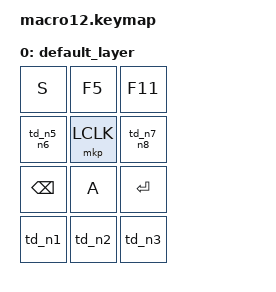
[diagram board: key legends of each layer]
#include <behaviors.dtsi>
#include <dt-bindings/zmk/keys.h>
#include <dt-bindings/zmk/bt.h>
#include <dt-bindings/zmk/mouse.h>

/ {
    behaviors {
        // --- Bluetooth Reset ---
        td_bt_reset: tap_dance_bt_reset {
            compatible = "zmk,behavior-tap-dance";
            label = "TD_BT_RESET";
            #binding-cells = <0>;
            tapping-term-ms = <300>;
            bindings = <&none>, <&bt BT_CLR>;
        };
        
        // --- Untere Reihe (Sonderzeichen / Zahlen) ---
        td_n1: tap_dance_n1 {
            compatible = "zmk,behavior-tap-dance";
            label = "TD_N1";
            #binding-cells = <0>;
            tapping-term-ms = <200>; 
            bindings = <&kp KP_DIVIDE>, <&kp N1>; 
        };

        td_n2: tap_dance_n2 {
            compatible = "zmk,behavior-tap-dance";
            label = "TD_N2";
            #binding-cells = <0>;
            tapping-term-ms = <200>;
            bindings = <&kp KP_MULTIPLY>, <&kp N2>;
        };

        td_n3: tap_dance_n3 {
            compatible = "zmk,behavior-tap-dance";
            label = "TD_N3";
            #binding-cells = <0>;
            tapping-term-ms = <200>;
            bindings = <&kp KP_MINUS>, <&kp N3>; 
        };

        // --- Mittlere Reihe (Zahlen Erweiterung) ---
        td_n5_n6: tap_dance_n5_n6 {
            compatible = "zmk,behavior-tap-dance";
            label = "TD_N5_N6";
            #binding-cells = <0>;
            tapping-term-ms = <200>;
            bindings = <&kp N5>, <&kp N6>;
        };

        td_n7_n8: tap_dance_n7_n8 {
            compatible = "zmk,behavior-tap-dance";
            label = "TD_N7_N8";
            #binding-cells = <0>;
            tapping-term-ms = <200>;
            bindings = <&kp N7>, <&kp N8>;
        };
    };

    combos {
        compatible = "zmk,combos";
        
        // Bluetooth Reset Combo (Backspace + Enter)
        combo_bt_clr {
            timeout-ms = <100>;
            key-positions = <6 8>;
            bindings = <&td_bt_reset>;
        };
    };

    keymap {
        compatible = "zmk,keymap";

        default_layer {
            bindings = <
                &kp S          &kp F5          &kp F11     
                &td_n5_n6      &mkp LCLK       &td_n7_n8   
                &kp BSPC       &kp A           &kp ENTER   
                &td_n1         &td_n2          &td_n3      
            >;
        };
    };
};
